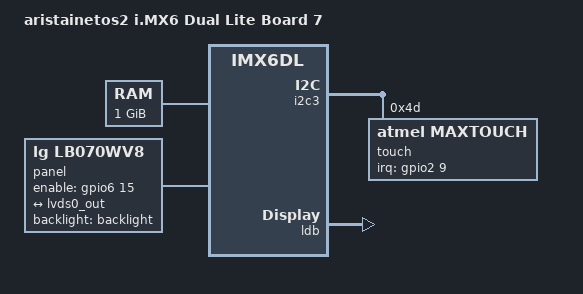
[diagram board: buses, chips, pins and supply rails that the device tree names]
/*
 * support for the imx6 based aristainetos2 board
 *
 * Copyright (C) 2015 Heiko Schocher <hs@denx.de>
 *
 * This file is dual-licensed: you can use it either under the terms
 * of the GPL or the X11 license, at your option. Note that this dual
 * licensing only applies to this file, and not this project as a
 * whole.
 *
 *  a) This file is free software; you can redistribute it and/or
 *     modify it under the terms of the GNU General Public License
 *     version 2 as published by the Free Software Foundation.
 *
 *     This file is distributed in the hope that it will be useful,
 *     but WITHOUT ANY WARRANTY; without even the implied warranty of
 *     MERCHANTABILITY or FITNESS FOR A PARTICULAR PURPOSE.  See the
 *     GNU General Public License for more details.
 *
 * Or, alternatively,
 *
 *  b) Permission is hereby granted, free of charge, to any person
 *     obtaining a copy of this software and associated documentation
 *     files (the "Software"), to deal in the Software without
 *     restriction, including without limitation the rights to use,
 *     copy, modify, merge, publish, distribute, sublicense, and/or
 *     sell copies of the Software, and to permit persons to whom the
 *     Software is furnished to do so, subject to the following
 *     conditions:
 *
 *     The above copyright notice and this permission notice shall be
 *     included in all copies or substantial portions of the Software.
 *
 *     THE SOFTWARE IS PROVIDED "AS IS", WITHOUT WARRANTY OF ANY KIND,
 *     EXPRESS OR IMPLIED, INCLUDING BUT NOT LIMITED TO THE WARRANTIES
 *     OF MERCHANTABILITY, FITNESS FOR A PARTICULAR PURPOSE AND
 *     NONINFRINGEMENT. IN NO EVENT SHALL THE AUTHORS OR COPYRIGHT
 *     HOLDERS BE LIABLE FOR ANY CLAIM, DAMAGES OR OTHER LIABILITY,
 *     WHETHER IN AN ACTION OF CONTRACT, TORT OR OTHERWISE, ARISING
 *     FROM, OUT OF OR IN CONNECTION WITH THE SOFTWARE OR THE USE OR
 *     OTHER DEALINGS IN THE SOFTWARE.
 */
/dts-v1/;
#include "imx6dl.dtsi"
#include "imx6qdl-aristainetos2.dtsi"

/ {
	model = "aristainetos2 i.MX6 Dual Lite Board 7";
	compatible = "fsl,imx6dl";

	memory@10000000 {
		device_type = "memory";
		reg = <0x10000000 0x40000000>;
	};

	panel: panel {
		compatible = "lg,lb070wv8";
		backlight = <&backlight>;
		enable-gpios = <&gpio6 15 GPIO_ACTIVE_HIGH>;

		port {
			panel_in: endpoint {
				remote-endpoint = <&lvds0_out>;
			};
		};
	};
};

&i2c3 {
	touch: touch@4d {
		compatible = "atmel,maxtouch";
		reg = <0x4d>;
		interrupt-parent = <&gpio2>;
		interrupts = <9 8>;
	};
};

&ldb {
	status = "okay";

	lvds-channel@0 {
		status = "okay";

		port@0 {
			reg = <0>;
			lvds0_in: endpoint {
				remote-endpoint = <&ipu1_di0_lvds0>;
			};
		};

		port@4 {
			reg = <4>;
			lvds0_out: endpoint {
				remote-endpoint = <&panel_in>;
			};
		};
	};
};
